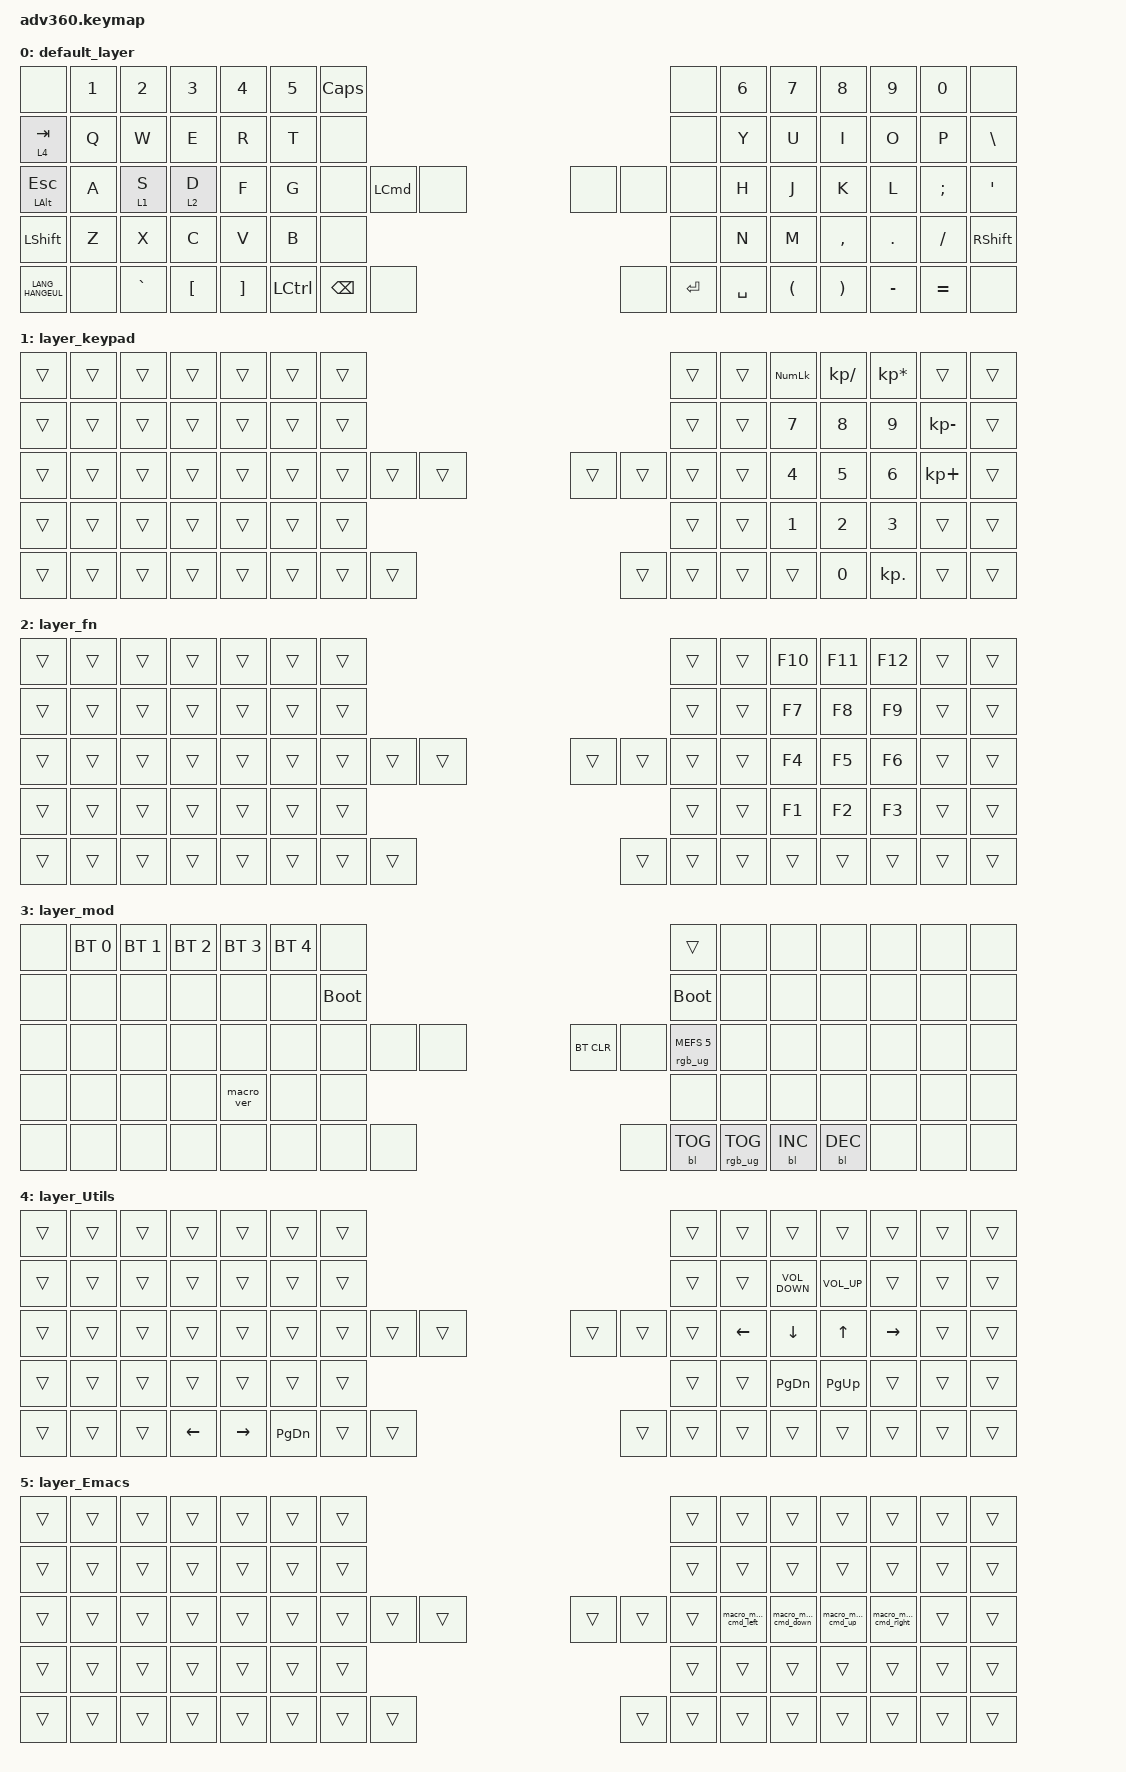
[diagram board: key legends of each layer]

/*
 * Copyright (c) 2020 The ZMK Contributors
 *
 * SPDX-License-Identifier: MIT
 */


/* THIS FILE WAS GENERATED!
 *
 * This file was generated automatically. You may or may not want to
 * edit it directly.
 */

#include <behaviors.dtsi>
#include <dt-bindings/zmk/keys.h>
#include <dt-bindings/zmk/bt.h>
#include <dt-bindings/zmk/rgb.h>
#include <dt-bindings/zmk/backlight.h>

/ {
  behaviors {
    #include "macros.dtsi"
    #include "version.dtsi"

    hm: homerow_mods {
        compatible = "zmk,behavior-hold-tap";
        label = "HOMEROW_MODS";
        #binding-cells = <2>;
        tapping-term-ms = <200>;
        quick_tap_ms = <175>;
        flavor = "tap-preferred";
        bindings = <&kp>, <&kp>;
    };
  };

    keymap {
        compatible = "zmk,keymap";


        default_layer {
            bindings = <
               &none  &kp N1     &kp N2            &kp N3             &kp N4  &kp N5            &kp CAPSLOCK                                                                   &none  &kp N6                &kp N7                 &kp N8     &kp N9     &kp N0      &none
           &lt 4 TAB   &kp Q      &kp W             &kp E              &kp R   &kp T                   &none                                                                   &none   &kp Y                 &kp U                  &kp I      &kp O      &kp P   &kp BSLH
 &mt LEFT_ALT ESCAPE   &kp A    &lt 1 S           &lt 2 D              &kp F   &kp G                   &none  &kp LEFT_COMMAND   &none                   &none      &none      &none   &kp H                 &kp J                  &kp K      &kp L   &kp SEMI    &kp SQT
           &kp LSHFT   &kp Z      &kp X             &kp C              &kp V   &kp B                                             &none                   &none                         &kp N                 &kp M              &kp COMMA    &kp DOT   &kp FSLH  &kp RSHFT
    &kp LANG_HANGEUL   &none  &kp GRAVE  &kp LEFT_BRACKET  &kp RIGHT_BRACKET                       &kp LCTRL     &kp BACKSPACE   &none                   &none  &kp ENTER  &kp SPACE          &kp LEFT_PARENTHESIS  &kp RIGHT_PARENTHESIS  &kp MINUS  &kp EQUAL      &none
            >;
        };

        layer_keypad {
            bindings = <
 &trans  &trans  &trans  &trans  &trans  &trans            &trans                                                  &trans  &trans    &kp KP_NUM  &kp KP_SLASH  &kp KP_MULTIPLY        &trans  &trans
 &trans  &trans  &trans  &trans  &trans  &trans            &trans                                                  &trans  &trans  &kp NUMBER_7  &kp NUMBER_8     &kp NUMBER_9  &kp KP_MINUS  &trans
 &trans  &trans  &trans  &trans  &trans  &trans            &trans  &trans  &trans                  &trans  &trans  &trans  &trans  &kp NUMBER_4  &kp NUMBER_5     &kp NUMBER_6   &kp KP_PLUS  &trans
 &trans  &trans  &trans  &trans  &trans  &trans                            &trans                  &trans                  &trans  &kp NUMBER_1  &kp NUMBER_2     &kp NUMBER_3        &trans  &trans
 &trans  &trans  &trans  &trans  &trans                    &trans  &trans  &trans                  &trans  &trans  &trans                &trans        &kp N0       &kp KP_DOT        &trans  &trans
            >;
        };

        layer_fn {
            bindings = <
 &trans  &trans  &trans  &trans  &trans  &trans            &trans                                                  &trans  &trans  &kp F10  &kp F11  &kp F12  &trans  &trans
 &trans  &trans  &trans  &trans  &trans  &trans            &trans                                                  &trans  &trans   &kp F7   &kp F8   &kp F9  &trans  &trans
 &trans  &trans  &trans  &trans  &trans  &trans            &trans  &trans  &trans                  &trans  &trans  &trans  &trans   &kp F4   &kp F5   &kp F6  &trans  &trans
 &trans  &trans  &trans  &trans  &trans  &trans                            &trans                  &trans                  &trans   &kp F1   &kp F2   &kp F3  &trans  &trans
 &trans  &trans  &trans  &trans  &trans                    &trans  &trans  &trans                  &trans  &trans  &trans           &trans   &trans   &trans  &trans  &trans
            >;
        };

        layer_mod {
            bindings = <
  &none  &bt BT_SEL 0  &bt BT_SEL 1  &bt BT_SEL 2  &bt BT_SEL 3  &bt BT_SEL 4                  &none                                                                          &trans   &none       &none       &none   &none   &none   &none
  &none         &none         &none         &none         &none         &none            &bootloader                                                                     &bootloader   &none       &none       &none   &none   &none   &none
  &none         &none         &none         &none         &none         &none                  &none   &none   &none                  &bt BT_CLR       &none  &rgb_ug RGB_MEFS_CMD 5   &none       &none       &none   &none   &none   &none
  &none         &none         &none         &none    &macro_ver         &none                                  &none                       &none                                       &none       &none       &none   &none   &none   &none
  &none         &none         &none         &none         &none                                &none   &none   &none                       &none  &bl BL_TOG         &rgb_ug RGB_TOG          &bl BL_INC  &bl BL_DEC   &none   &none   &none
            >;
        };

        layer_Utils {
            bindings = <
 &trans  &trans  &trans    &trans     &trans  &trans                   &trans                                                  &trans    &trans             &trans           &trans     &trans  &trans  &trans
 &trans  &trans  &trans    &trans     &trans  &trans                   &trans                                                  &trans    &trans  &kp C_VOLUME_DOWN  &kp C_VOLUME_UP     &trans  &trans  &trans
 &trans  &trans  &trans    &trans     &trans  &trans                   &trans  &trans  &trans                  &trans  &trans  &trans  &kp LEFT           &kp DOWN           &kp UP  &kp RIGHT  &trans  &trans
 &trans  &trans  &trans    &trans     &trans  &trans                                   &trans                  &trans                    &trans      &kp PAGE_DOWN      &kp PAGE_UP     &trans  &trans  &trans
 &trans  &trans  &trans  &kp LEFT  &kp RIGHT                    &kp PAGE_DOWN  &trans  &trans                  &trans  &trans  &trans                       &trans           &trans     &trans  &trans  &trans
            >;
        };

        layer_Emacs {
            bindings = <
 &trans  &trans  &trans  &trans  &trans  &trans            &trans                                                  &trans                 &trans                 &trans               &trans                  &trans  &trans  &trans
 &trans  &trans  &trans  &trans  &trans  &trans            &trans                                                  &trans                 &trans                 &trans               &trans                  &trans  &trans  &trans
 &trans  &trans  &trans  &trans  &trans  &trans            &trans  &trans  &trans                  &trans  &trans  &trans  &macro_macro_cmd_left  &macro_macro_cmd_down  &macro_macro_cmd_up  &macro_macro_cmd_right  &trans  &trans
 &trans  &trans  &trans  &trans  &trans  &trans                            &trans                  &trans                                 &trans                 &trans               &trans                  &trans  &trans  &trans
 &trans  &trans  &trans  &trans  &trans                    &trans  &trans  &trans                  &trans  &trans  &trans                                        &trans               &trans                  &trans  &trans  &trans
            >;
        };

    };
};
